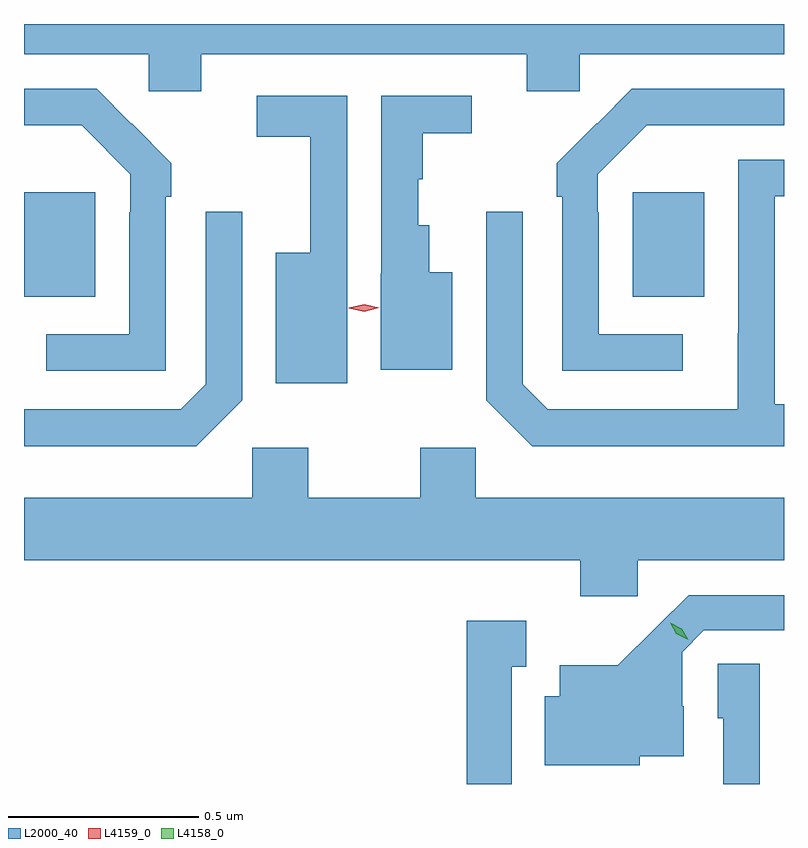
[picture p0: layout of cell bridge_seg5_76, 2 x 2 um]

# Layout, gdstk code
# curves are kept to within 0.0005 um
import gdstk
lib = gdstk.Library(unit=1e-6, precision=1e-09)
def R(c, l, rs):  # rectangles x0, y0, x1, y1
    for r in rs: c.add(gdstk.rectangle(r[:2], r[2:], *l))
def P(c, l, *ps):  # polygons
    for p in ps: c.add(gdstk.Polygon(p, *l))
L2000_40 = (2000, 40)
L4158_0 = (4158, 0)
L4159_0 = (4159, 0)

bridge_seg5_76 = lib.new_cell('bridge_seg5_76')
R(bridge_seg5_76, L2000_40, [(135.113,909.401,135.301,909.676), (136.715,909.401,136.903,909.676)])
P(bridge_seg5_76, L2000_40, [(135.58,910.04),(136.436,910.04),(136.436,909.942),(136.575,909.942),(136.575,910.04),(137.113,910.04),(137.113,910.119),(135.113,910.119),(135.113,910.04),(135.441,910.04),(135.441,909.942),(135.58,909.942)],
  [(135.486,909.665),(135.501,909.665),(135.501,909.753),(135.396,909.858),(135.395,909.857),(135.304,909.948),(135.113,909.948),(135.113,909.852),(135.265,909.852),(135.393,909.723),(135.393,909.623),(135.39,909.623),(135.39,909.303),(135.171,909.303),(135.171,909.207),(135.486,909.207)],
  [(136.846,909.303),(136.626,909.303),(136.626,909.623),(136.623,909.623),(136.623,909.723),(136.752,909.852),(137.113,909.852),(137.113,909.948),(136.712,909.948),(136.621,909.857),(136.62,909.858),(136.515,909.753),(136.515,909.665),(136.53,909.665),(136.53,909.207),(136.846,909.207)],
  [(136.24,909.466),(136.18,909.466),(136.18,909.589),(136.151,909.589),(136.151,909.711),(136.162,909.711),(136.162,909.832),(136.291,909.832),(136.291,909.93),(136.053,909.93),(136.053,909.462),(136.052,909.462),(136.052,909.209),(136.24,909.209)],
  [(135.964,909.413),(135.963,909.413),(135.963,909.93),(135.726,909.93),(135.726,909.822),(135.866,909.822),(135.866,909.517),(135.776,909.517),(135.776,909.173),(135.964,909.173)],
  [(137.113,909.118),(137.088,909.118),(137.088,909.666),(137.113,909.666),(137.113,909.762),(136.992,909.762),(136.992,909.305),(136.991,909.305),(136.991,909.105),(136.491,909.105),(136.425,909.171),(136.425,909.625),(136.329,909.625),(136.329,909.129),(136.45,909.008),(137.113,909.008)],
  [(135.687,909.129),(135.687,909.625),(135.591,909.625),(135.591,909.171),(135.525,909.105),(135.113,909.105),(135.113,909.008),(135.566,909.008)],
  [(136.728,908.708),(137.113,908.708),(137.113,908.872),(136.302,908.872),(136.302,909.004),(136.156,909.004),(136.156,908.872),(135.861,908.872),(135.861,909.004),(135.714,909.004),(135.714,908.872),(135.113,908.872),(135.113,908.708),(136.577,908.708),(136.577,908.613),(136.728,908.613)],
  [(136.734,908.192),(136.849,908.192),(136.849,908.324),(136.845,908.324),(136.845,908.466),(136.902,908.523),(137.113,908.523),(137.113,908.616),(136.862,908.616),(136.675,908.431),(136.523,908.431),(136.523,908.35),(136.484,908.35),(136.484,908.168),(136.734,908.168)],
  [(136.396,908.427),(136.435,908.427),(136.435,908.548),(136.278,908.548),(136.278,908.119),(136.396,908.119)],
  [(137.049,908.435),(136.938,908.435),(136.938,908.292),(136.953,908.292),(136.953,908.119),(137.049,908.119)])
P(bridge_seg5_76, L4158_0, [(136.861,908.498),(136.83,908.514),(136.813,908.544),(136.813,908.544),(136.813,908.544),(136.844,908.528),(136.861,908.498),(136.861,908.498)])
P(bridge_seg5_76, L4159_0, [(136.008,909.362),(135.968,909.371),(135.968,909.371),(135.968,909.372),(136.008,909.382),(136.048,909.372),(136.048,909.372),(136.048,909.372)])

lib.write_gds('bridge_seg5_76.gds')
